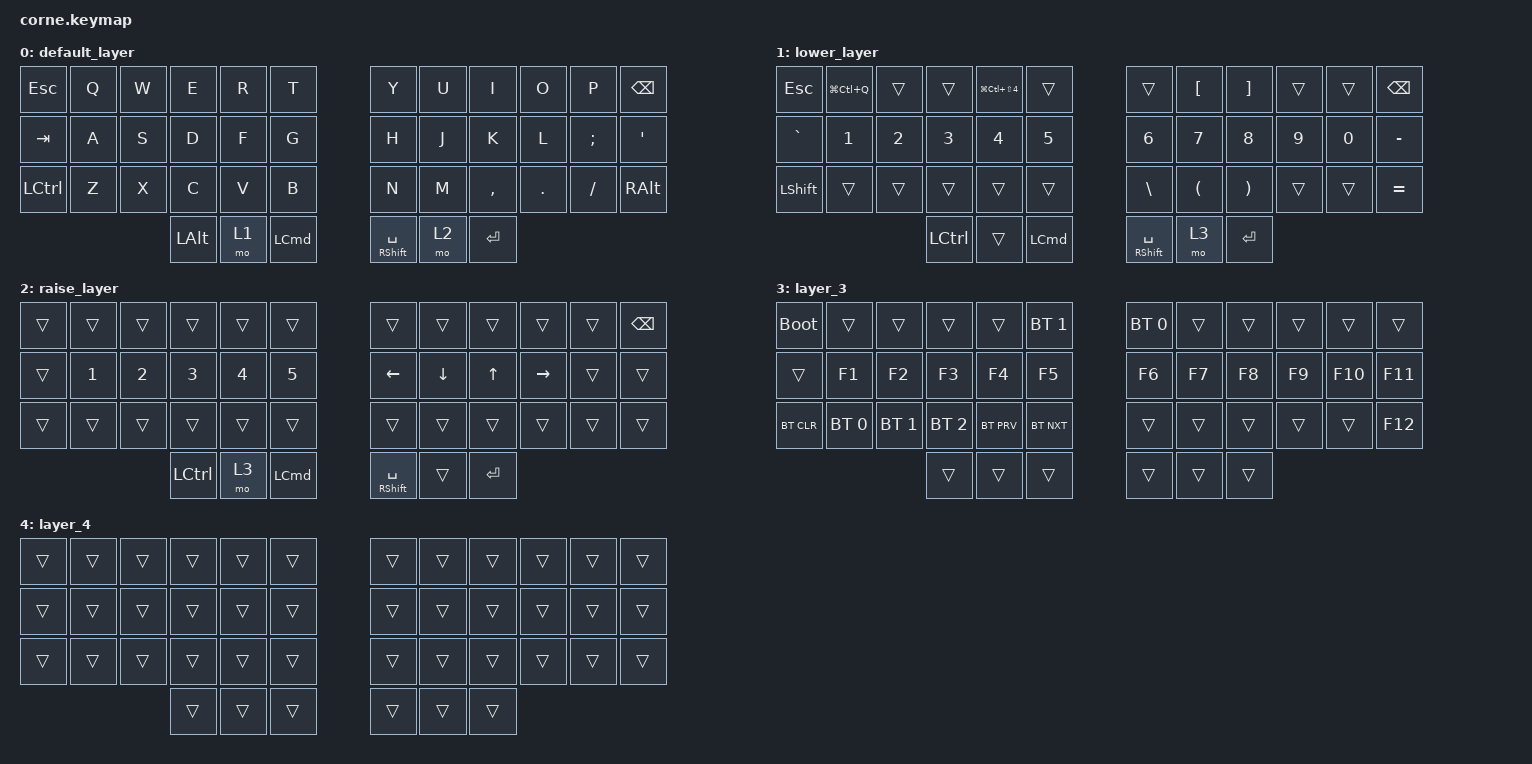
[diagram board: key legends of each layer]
/*
 * Copyright (c) 2020 The ZMK Contributors
 *
 * SPDX-License-Identifier: MIT
 */

#include <behaviors.dtsi>
#include <dt-bindings/zmk/bt.h>
#include <dt-bindings/zmk/keys.h>

/ {
    keymap {
        compatible = "zmk,keymap";

        default_layer {
            // -----------------------------------------------------------------------------------------
            // |  TAB |  Q  |  W  |  E  |  R  |  T  |   |  Y  |  U   |  I  |  O  |  P  | BKSP |
            // | CTRL |  A  |  S  |  D  |  F  |  G  |   |  H  |  J   |  K  |  L  |  ;  |  '   |
            // | SHFT |  Z  |  X  |  C  |  V  |  B  |   |  N  |  M   |  ,  |  .  |  /  | ESC  |
            //                    | GUI | LWR | SPC |   | ENT | RSE  | ALT |

            bindings = <
&kp ESCAPE        &kp Q  &kp W  &kp E         &kp R  &kp T               &kp Y                  &kp U  &kp I      &kp O    &kp P     &kp BSPC
&kp TAB           &kp A  &kp S  &kp D         &kp F  &kp G               &kp H                  &kp J  &kp K      &kp L    &kp SEMI  &kp SQT
&kp LEFT_CONTROL  &kp Z  &kp X  &kp C         &kp V  &kp B               &kp N                  &kp M  &kp COMMA  &kp DOT  &kp FSLH  &kp RIGHT_ALT
                                &kp LEFT_ALT  &mo 1  &kp LEFT_COMMAND    &mt RIGHT_SHIFT SPACE  &mo 2  &kp RET
            >;
        };

        lower_layer {
            // -----------------------------------------------------------------------------------------
            // |  TAB |  1  |  2  |  3  |  4  |  5  |   |  6  |  7  |  8  |  9  |  0  | BKSP |
            // | BTCLR| BT1 | BT2 | BT3 | BT4 | BT5 |   | LFT | DWN |  UP | RGT |     |      |
            // | SHFT |     |     |     |     |     |   |     |     |     |     |     |      |
            //                    | GUI |     | SPC |   | ENT |     | ALT |

            bindings = <
&kp ESCAPE  &kp LG(LC(Q))  &trans        &trans            &kp LG(LC(LS(NUMBER_4)))  &trans              &trans                 &kp LEFT_BRACKET      &kp RIGHT_BRACKET      &trans        &trans        &kp BSPC
&kp GRAVE   &kp NUMBER_1   &kp NUMBER_2  &kp NUMBER_3      &kp NUMBER_4              &kp NUMBER_5        &kp NUMBER_6           &kp NUMBER_7          &kp NUMBER_8           &kp NUMBER_9  &kp NUMBER_0  &kp MINUS
&kp LSHFT   &trans         &trans        &trans            &trans                    &trans              &kp BACKSLASH          &kp LEFT_PARENTHESIS  &kp RIGHT_PARENTHESIS  &trans        &trans        &kp EQUAL
                                         &kp LEFT_CONTROL  &trans                    &kp LEFT_COMMAND    &mt RIGHT_SHIFT SPACE  &mo 3                 &kp RET
            >;
        };

        raise_layer {
            // -----------------------------------------------------------------------------------------
            // |  TAB |  !  |  @  |  #  |  $  |  %  |   |  ^  |  &  |  *  |  (  |  )  | BKSP |
            // | CTRL |     |     |     |     |     |   |  -  |  =  |  [  |  ]  |  \  |  `   |
            // | SHFT |     |     |     |     |     |   |  _  |  +  |  {  |  }  | "|" |  ~   |
            //                    | GUI |     | SPC |   | ENT |     | ALT |

            bindings = <
&trans  &trans        &trans        &trans            &trans        &trans              &trans                 &trans    &trans        &trans     &trans  &kp BSPC
&trans  &kp NUMBER_1  &kp NUMBER_2  &kp NUMBER_3      &kp NUMBER_4  &kp N5              &kp LEFT               &kp DOWN  &kp UP_ARROW  &kp RIGHT  &trans  &trans
&trans  &trans        &trans        &trans            &trans        &trans              &trans                 &trans    &trans        &trans     &trans  &trans
                                    &kp LEFT_CONTROL  &mo 3         &kp LEFT_COMMAND    &mt RIGHT_SHIFT SPACE  &trans    &kp RET
            >;
        };

        layer_3 {
            bindings = <
&bootloader  &trans        &trans        &trans        &trans      &bt BT_SEL 1    &bt BT_SEL 0  &trans  &trans  &trans  &trans   &trans
&trans       &kp F1        &kp F2        &kp F3        &kp F4      &kp F5          &kp F6        &kp F7  &kp F8  &kp F9  &kp F10  &kp F11
&bt BT_CLR   &bt BT_SEL 0  &bt BT_SEL 1  &bt BT_SEL 2  &bt BT_PRV  &bt BT_NXT      &trans        &trans  &trans  &trans  &trans   &kp F12
                                         &trans        &trans      &trans          &trans        &trans  &trans
            >;
        };

        layer_4 {
            bindings = <
&trans  &trans  &trans  &trans  &trans  &trans    &trans  &trans  &trans  &trans  &trans  &trans
&trans  &trans  &trans  &trans  &trans  &trans    &trans  &trans  &trans  &trans  &trans  &trans
&trans  &trans  &trans  &trans  &trans  &trans    &trans  &trans  &trans  &trans  &trans  &trans
                        &trans  &trans  &trans    &trans  &trans  &trans
            >;
        };
    };
};
